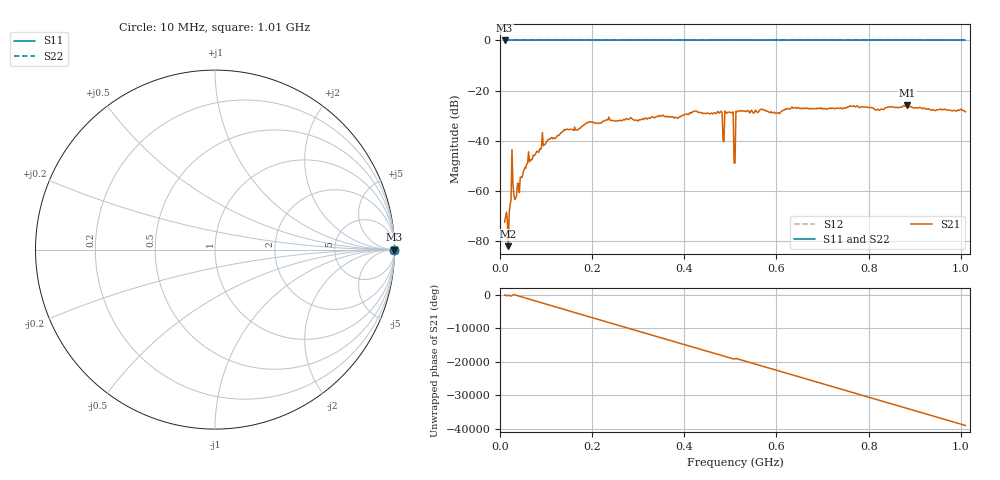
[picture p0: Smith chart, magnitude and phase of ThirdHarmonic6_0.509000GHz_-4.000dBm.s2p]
! 8/15/2025 3:27:29 PM
! C:\ANRITSUVNA\TEMP\TEMP.S2P
! CHANNEL.1
! TR.MEASUREMENT
! RAW.DATA
! RF.CORRECTION.OFF
! AVERAGING.OFF
! IF.BANDWIDTH: 5KHZ
! SWEEPTYPE:  FREQ.SWEEP(Linear)
! Reference Plane Port Info
! PORT:  PORT1  PORT2
! DISTANCE:  0  m  0  m
! TIME:  0  s  0  s
! PHASE.OFFSET:  0  deg.  0  deg.
! LOSS:  0  dB  0  dB
! REF.LOSS:  0  dB  0  dB
! REF.FREQ:  0  Hz  0  Hz
! Power Info
! POWER:  -20  dBm  -20  dBm
! EFF.POWER:  -20  dBm  -20  dBm
! SOURCE.ATTEN:  0  dB  0  dB
! TEST.ATTEN:  0  dB  0  dB
# GHZ S RI R 50.0
! FREQ.GHZ  S11RE  S11IM  S21RE  S21IM  S12RE  S12IM  S22RE  S22IM
!; PortSelection: Port_12
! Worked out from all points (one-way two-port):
!   501 points, 10 MHz to 1.01 GHz, reference 50 ohm
!   highest |S21| = -25.96 dB at 884 MHz (marker M1); lowest = -82.1 dB at 18 MHz (marker M2)
!   lowest |S11| = 0.0 dB at 10 MHz (marker M3)
!   |S11| at or under -10 dB: nowhere
!   |S22| runs from 0.0 to 0.0 dB; largest |S21 - S12| = 1
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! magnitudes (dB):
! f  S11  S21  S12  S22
! 10 MHz  0.0  -72.6  0.0  0.0
! 18 MHz  0.0  -82.1  0.0  0.0
! 20 MHz  0.0  -68.8  0.0  0.0
! 26 MHz  0.0  -43.6  0.0  0.0
! 34 MHz  0.0  -62.9  0.0  0.0
! 62 MHz  0.0  -44.5  0.0  0.0
! 96 MHz  0.0  -41.6  0.0  0.0
! 178 MHz  0.0  -34.4  0.0  0.0
! 344 MHz  0.0  -30.3  0.0  0.0
! 476 MHz  0.0  -29.0  0.0  0.0
! 482 MHz  0.0  -28.8  0.0  0.0
! 488 MHz  0.0  -28.2  0.0  0.0
! 492 MHz  0.0  -29.1  0.0  0.0
! 502 MHz  0.0  -28.7  0.0  0.0
! 506 MHz  0.0  -28.5  0.0  0.0
! 510 MHz  0.0  -48.9  0.0  0.0
! 512 MHz  0.0  -28.2  0.0  0.0
! 516 MHz  0.0  -28.2  0.0  0.0
! 678 MHz  0.0  -27.3  0.0  0.0
! 844 MHz  0.0  -26.6  0.0  0.0
! 884 MHz  0.0  -26.0  0.0  0.0
! 1.01 GHz  0.0  -28.5  0.0  0.0
